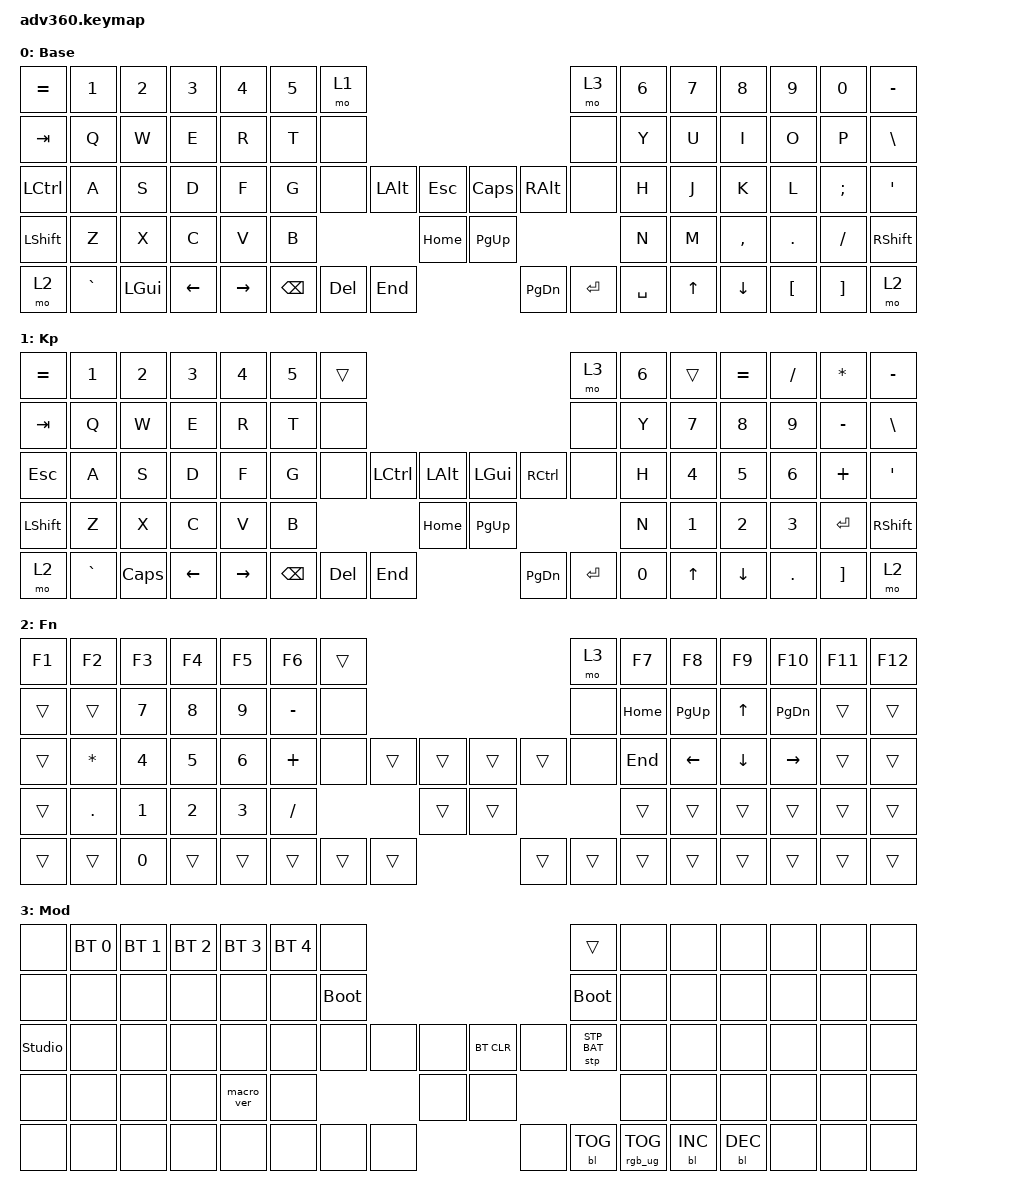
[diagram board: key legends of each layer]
#include <behaviors.dtsi>
#include <dt-bindings/zmk/keys.h>
#include <dt-bindings/zmk/bt.h>
#include <dt-bindings/zmk/rgb.h>
#include <dt-bindings/zmk/stp.h>
#include <dt-bindings/zmk/backlight.h>
#include <dt-bindings/zmk/pointing.h>

/ {
    behaviors {
      #include "macros.dtsi"
      #include "version.dtsi"

      hm: homerow_mods {
          compatible = "zmk,behavior-hold-tap";
          label = "HOMEROW_MODS";
          #binding-cells = <2>;
          tapping-term-ms = <200>;
          quick_tap_ms = <175>;
          flavor = "tap-preferred";
          bindings = <&kp>, <&kp>;
      };
    };

  keymap {
    compatible = "zmk,keymap";

    default_layer {
      display-name = "Base";
      bindings = <
        &kp EQUAL &kp N1    &kp N2   &kp N3   &kp N4     &kp N5 &mo 1                                                            &mo 3 &kp N6 &kp N7 &kp N8    &kp N9   &kp N0   &kp MINUS
        &kp TAB   &kp Q     &kp W    &kp E    &kp R      &kp T  &none                                                            &none &kp Y  &kp U  &kp I     &kp O    &kp P    &kp BSLH
        &kp LCTRL &kp A     &kp S    &kp D    &kp F      &kp G  &none           &kp LALT &kp ESC  &kp CAPS &kp RALT            &none &kp H  &kp J  &kp K     &kp L    &kp SEMI &kp SQT
        &kp LSHFT &kp Z     &kp X    &kp C    &kp V      &kp B                            &kp HOME &kp PG_UP                           &kp N  &kp M  &kp COMMA &kp DOT  &kp FSLH &kp RSHFT
        &mo 2     &kp GRAVE &kp LGUI &kp LEFT &kp RIGHT                &kp BSPC &kp DEL   &kp END  &kp PG_DN &kp ENTER &kp SPACE              &kp UP &kp DOWN  &kp LBKT &kp RBKT &mo 2
      >;
    };
    keypad {
      display-name = "Kp";
      bindings = <
        &kp EQUAL &kp N1    &kp N2   &kp N3   &kp N4     &kp N5 &trans                                                           &mo 3 &kp N6 &trans &kp EQUAL &kp FSLH &kp STAR  &kp MINUS
        &kp TAB   &kp Q     &kp W    &kp E    &kp R      &kp T  &none                                                            &none &kp Y  &kp N7 &kp N8    &kp N9    &kp MINUS &kp BSLH
        &kp ESC   &kp A     &kp S    &kp D    &kp F      &kp G  &none           &kp LCTRL &kp LALT &kp LGUI  &kp RCTRL           &none &kp H  &kp N4 &kp N5    &kp N6    &kp PLUS  &kp SQT
        &kp LSHFT &kp Z     &kp X    &kp C    &kp V      &kp B                            &kp HOME &kp PG_UP                           &kp N  &kp N1 &kp N2    &kp N3    &kp ENTER &kp RSHFT
        &mo 2     &kp GRAVE &kp CAPS &kp LEFT &kp RIGHT                &kp BSPC &kp DEL   &kp END  &kp PG_DN &kp ENTER &kp N0                 &kp UP &kp DOWN  &kp DOT   &kp RBKT  &mo 2
      >;
    };
    fn {
      display-name = "Fn";
      bindings = <
        &kp F1    &kp F2    &kp F3   &kp F4   &kp F5     &kp F6 &trans                                                           &mo 3 &kp F7   &kp F8   &kp F9   &kp F10  &kp F11  &kp F12
        &trans    &trans    &kp N7   &kp N8   &kp N9     &kp MINUS &none                                                        &none &kp HOME &kp PG_UP &kp UP   &kp PG_DN &trans   &trans
        &trans    &kp STAR  &kp N4   &kp N5   &kp N6     &kp PLUS  &none   &trans &trans &trans &trans                    &none &kp END  &kp LEFT  &kp DOWN &kp RIGHT &trans   &trans
        &trans    &kp DOT   &kp N1   &kp N2   &kp N3     &kp FSLH                 &trans &trans                            &trans &trans  &trans    &trans   &trans    &trans
        &trans    &trans    &kp N0   &trans   &trans                     &trans &trans &trans &trans &trans &trans             &trans &trans  &trans    &trans   &trans
      >;
    };
    mod {
      display-name = "Mod";
      bindings = <
        &none &bt BT_SEL 0 &bt BT_SEL 1 &bt BT_SEL 2 &bt BT_SEL 3 &bt BT_SEL 4 &none                                                                     &trans                 &none        &none        &none        &none &none &none
        &none &none        &none        &none        &none        &none        &bootloader                                                               &bootloader            &none        &none        &none        &none &none &none
        &studio_unlock &none        &none        &none        &none        &none        &none                   &none &none &bt BT_CLR &none                      &stp STP_BAT &none        &none        &none        &none &none &none
        &none &none        &none        &none        &macro_ver   &none                                      &none &none                                                        &none        &none        &none        &none &none &none
        &none &none        &none        &none        &none                                       &none &none &none &none      &bl BL_TOG &rgb_ug RGB_TOG                                     &bl BL_INC   &bl BL_DEC   &none &none &none
      >;
    };
    extra1 { 
      display-name = "Red";    
      status = "reserved";
    };

    extra2 { 
      display-name = "Purple";    
      status = "reserved";
    };

    extra3 { 
      display-name = "Cyan";    
      status = "reserved";
    };

    extra4 { 
      display-name = "Yellow";    
      status = "reserved";
    };
  };
};
